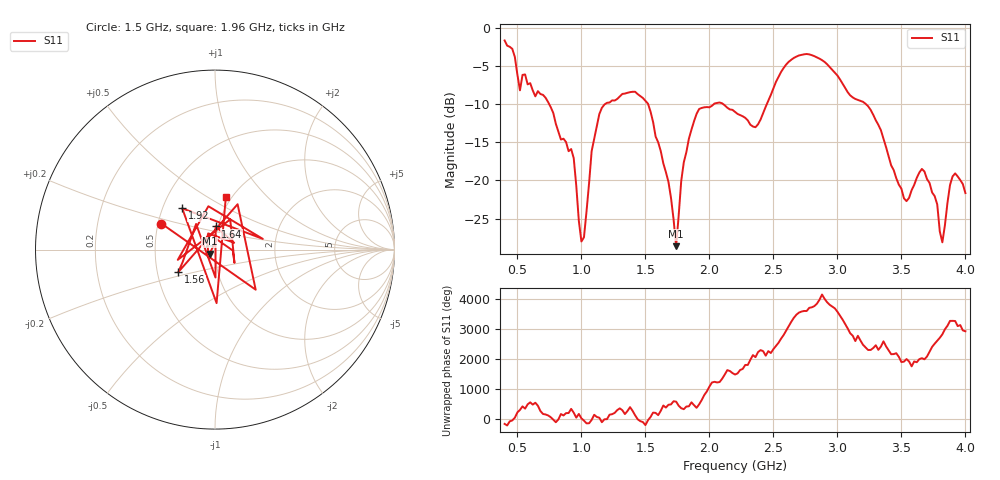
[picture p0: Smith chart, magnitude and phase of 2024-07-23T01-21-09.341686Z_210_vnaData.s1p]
!Created with skrf (http://scikit-rf.org).
# Hz S RI R 50.0
!freq ReS11 ImS11
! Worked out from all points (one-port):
!   181 points, 400 MHz to 4 GHz, reference 50 ohm
!   lowest |S11| = -28.6 dB at 1.74 GHz (marker M1), VSWR 1.08, Z = 47.1 - j2.12 ohm
!   |S11| at or under -10 dB: 748 MHz to 1.185 GHz (437 MHz wide, 45.2 % of centre); 1.521 GHz to 2.035 GHz (513.9 MHz wide, 28.9 % of centre); 3.223 GHz to end of sweep (the widest 3 of 4)
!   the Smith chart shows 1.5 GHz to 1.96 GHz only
!   S11 on the Smith chart (normalised r, x): 1.5 GHz: 0.52, +0.17; 1.56 GHz: 0.64, -0.17; 1.64 GHz: 0.97, +0.26; 1.92 GHz: 0.63, +0.32; 1.96 GHz: 0.94, +0.61
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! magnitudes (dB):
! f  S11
! 400 MHz  -1.7
! 520 MHz  -8.2
! 560 MHz  -6.1
! 860 MHz  -14.5
! 940 MHz  -17.1
! 1 GHz  -28.0
! 1.08 GHz  -16.2
! 1.14 GHz  -11.3
! 1.3 GHz  -9.0
! 1.5 GHz  -9.6
! 1.56 GHz  -12.3
! 1.64 GHz  -17.8
! 1.74 GHz  -28.6
! 1.76 GHz  -24.6
! 1.8 GHz  -17.6
! 1.92 GHz  -10.6
! 1.96 GHz  -10.4
! 2.2 GHz  -11.0
! 2.36 GHz  -13.0
! 2.66 GHz  -3.9
! 3.1 GHz  -8.9
! 3.26 GHz  -10.8
! 3.56 GHz  -22.3
! 3.68 GHz  -18.8
! 3.78 GHz  -23.1
! 3.82 GHz  -28.1
! 3.9 GHz  -19.5
! 4 GHz  -21.7
